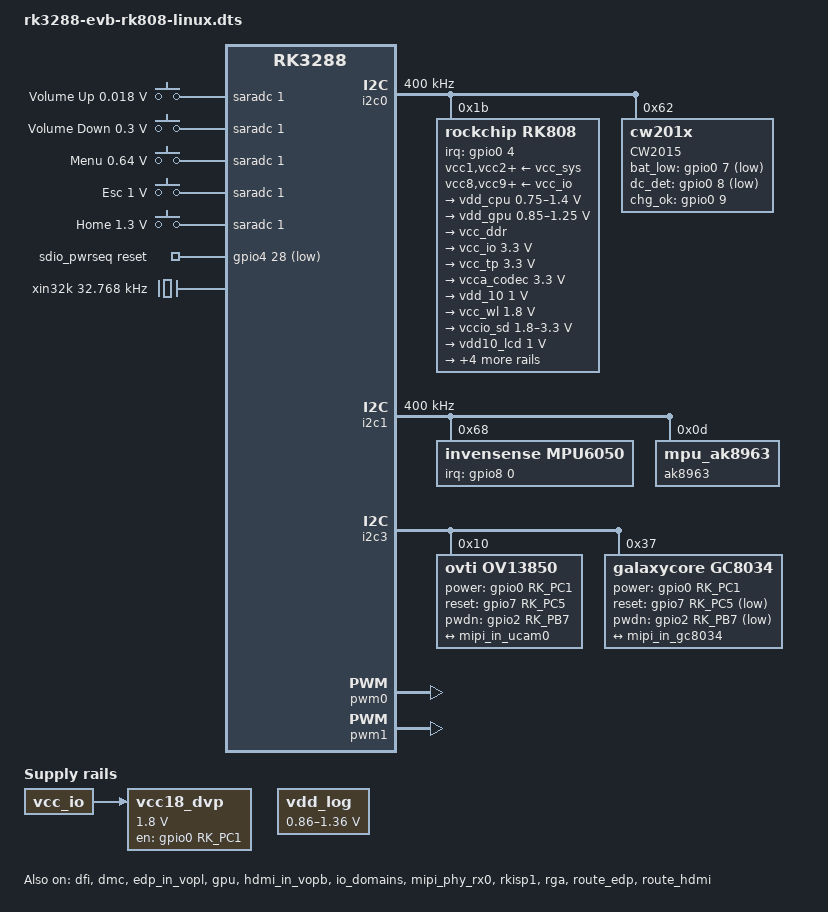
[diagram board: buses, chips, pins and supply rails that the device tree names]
// SPDX-License-Identifier: (GPL-2.0+ OR MIT)

/dts-v1/;
#include "rk3288-evb.dtsi"
#include "rk3288-linux.dtsi"

/ {
	compatible = "rockchip,rk3288-evb-rk808-linux", "rockchip,rk3288";

	adc-keys {
		compatible = "adc-keys";
		io-channels = <&saradc 1>;
		io-channel-names = "buttons";
		poll-interval = <100>;
		keyup-threshold-microvolt = <1800000>;

		button-up {
			label = "Volume Up";
			linux,code = <KEY_VOLUMEUP>;
			press-threshold-microvolt = <18000>;
		};

		button-down {
			label = "Volume Down";
			linux,code = <KEY_VOLUMEDOWN>;
			press-threshold-microvolt = <300000>;
		};

		menu {
			label = "Menu";
			linux,code = <KEY_MENU>;
			press-threshold-microvolt = <640000>;
		};

		esc {
			label = "Esc";
			linux,code = <KEY_ESC>;
			press-threshold-microvolt = <1000000>;
		};

		home  {
			label = "Home";
			linux,code = <KEY_HOME>;
			press-threshold-microvolt = <1300000>;
		};
	};

	sdio_pwrseq: sdio-pwrseq {
		compatible = "mmc-pwrseq-simple";
		clocks = <&rk808 1>;
		clock-names = "ext_clock";
		pinctrl-names = "default";
		pinctrl-0 = <&wifi_enable_h>;

		/*
		 * On the module itself this is one of these (depending
		 * on the actual card populated):
		 * - SDIO_RESET_L_WL_REG_ON
		 * - PDN (power down when low)
		 */
		reset-gpios = <&gpio4 28 GPIO_ACTIVE_LOW>;
	};

	wireless-bluetooth {
		clocks = <&rk808 1>;
		clock-names = "ext_clock";
	};

	/delete-node/ sdmmc-regulator;

	vcc18_dvp: vcc18-dvp {
		compatible = "regulator-fixed";
		regulator-name = "vcc18_dvp";
		regulator-min-microvolt = <1800000>;
		regulator-max-microvolt = <1800000>;
		gpio = <&gpio0 RK_PC1 GPIO_ACTIVE_HIGH>;
		enable-active-high;
		regulator-always-on;
		vin-supply = <&vcc_io>;
	};

	vdd_log: vdd-logic {
		compatible = "pwm-regulator";
		rockchip,pwm_id = <1>;
		rockchip,pwm_voltage = <1100000>;
		pwms = <&pwm1 0 25000 1>;
		regulator-name = "vcc_log";
		regulator-min-microvolt = <860000>;
		regulator-max-microvolt = <1360000>;
		regulator-always-on;
		regulator-boot-on;
	};

	xin32k: xin32k {
		compatible = "fixed-clock";
		clock-frequency = <32768>;
		clock-output-names = "xin32k";
		#clock-cells = <0>;
	};
};

&backlight {
	enable-gpios = <&gpio7 RK_PA2 GPIO_ACTIVE_HIGH>;
	pinctrl-names = "default";
	pinctrl-0 = <&bl_en>;
	pwms = <&pwm0 0 1000000 PWM_POLARITY_INVERTED>;
};

&cpu0 {
	cpu0-supply = <&vdd_cpu>;
};

&dfi {
	status = "okay";
};

&dmc {
	center-supply = <&vdd_log>;
	status = "okay";
};

&edp_in_vopb {
	status = "disabled";
};

&edp_in_vopl {
	status = "okay";
};

&gpu {
	status = "okay";
	mali-supply = <&vdd_gpu>;
};

&hdmi {
	pinctrl-0 = <&hdmi_ddc>, <&hdmi_cec_c0>;
};

&hdmi_in_vopb {
	status = "okay";
};

&hdmi_in_vopl {
	status = "disabled";
};

&i2c0 {
	clock-frequency = <400000>;

	rk808: pmic@1b {
		compatible = "rockchip,rk808";
		reg = <0x1b>;
		interrupt-parent = <&gpio0>;
		interrupts = <4 IRQ_TYPE_LEVEL_LOW>;
		pinctrl-names = "default";
		pinctrl-0 = <&pmic_int &global_pwroff>;
		rockchip,system-power-controller;
		wakeup-source;
		#clock-cells = <1>;
		clock-output-names = "rk808-clkout1", "rk808-clkout2";

		vcc1-supply = <&vcc_sys>;
		vcc2-supply = <&vcc_sys>;
		vcc3-supply = <&vcc_sys>;
		vcc4-supply = <&vcc_sys>;
		vcc6-supply = <&vcc_sys>;
		vcc8-supply = <&vcc_io>;
		vcc9-supply = <&vcc_io>;
		vcc12-supply = <&vcc_io>;
		vddio-supply = <&vcc_io>;

		regulators {
			vdd_cpu: DCDC_REG1 {
				regulator-always-on;
				regulator-boot-on;
				regulator-min-microvolt = <750000>;
				regulator-max-microvolt = <1400000>;
				regulator-name = "vdd_arm";
				regulator-state-mem {
					regulator-off-in-suspend;
				};
			};

			vdd_gpu: DCDC_REG2 {
				regulator-always-on;
				regulator-boot-on;
				regulator-min-microvolt = <850000>;
				regulator-max-microvolt = <1250000>;
				regulator-name = "vdd_gpu";
				regulator-ramp-delay = <6000>;
				regulator-state-mem {
					regulator-off-in-suspend;
				};
			};

			vcc_ddr: DCDC_REG3 {
				regulator-always-on;
				regulator-boot-on;
				regulator-name = "vcc_ddr";
				regulator-state-mem {
					regulator-on-in-suspend;
				};
			};

			vcc_io: DCDC_REG4 {
				regulator-always-on;
				regulator-boot-on;
				regulator-min-microvolt = <3300000>;
				regulator-max-microvolt = <3300000>;
				regulator-name = "vcc_io";
				regulator-state-mem {
					regulator-on-in-suspend;
					regulator-suspend-microvolt = <3300000>;
				};
			};

			vcc_tp: LDO_REG1 {
				regulator-always-on;
				regulator-boot-on;
				regulator-min-microvolt = <3300000>;
				regulator-max-microvolt = <3300000>;
				regulator-name = "vcc_tp";
				regulator-state-mem {
					regulator-off-in-suspend;
				};
			};

			vcca_codec: LDO_REG2 {
				regulator-always-on;
				regulator-boot-on;
				regulator-min-microvolt = <3300000>;
				regulator-max-microvolt = <3300000>;
				regulator-name = "vcca_codec";
				regulator-state-mem {
					regulator-on-in-suspend;
					regulator-suspend-microvolt = <3300000>;
				};
			};

			vdd_10: LDO_REG3 {
				regulator-always-on;
				regulator-boot-on;
				regulator-min-microvolt = <1000000>;
				regulator-max-microvolt = <1000000>;
				regulator-name = "vdd_10";
				regulator-state-mem {
					regulator-on-in-suspend;
					regulator-suspend-microvolt = <1000000>;
				};
			};

			vcc_wl: LDO_REG4 {
				regulator-always-on;
				regulator-boot-on;
				regulator-min-microvolt = <1800000>;
				regulator-max-microvolt = <1800000>;
				regulator-name = "vcc_wl";
				regulator-state-mem {
					regulator-on-in-suspend;
				};
			};

			vccio_sd: LDO_REG5 {
				regulator-always-on;
				regulator-boot-on;
				regulator-min-microvolt = <1800000>;
				regulator-max-microvolt = <3300000>;
				regulator-name = "vccio_sd";
				regulator-state-mem {
					regulator-off-in-suspend;
				};
			};

			vdd10_lcd: LDO_REG6 {
				regulator-always-on;
				regulator-boot-on;
				regulator-min-microvolt = <1000000>;
				regulator-max-microvolt = <1000000>;
				regulator-name = "vdd10_lcd";
				regulator-state-mem {
					regulator-off-in-suspend;
				};
			};

			vcc_18: LDO_REG7 {
				regulator-always-on;
				regulator-boot-on;
				regulator-min-microvolt = <1800000>;
				regulator-max-microvolt = <1800000>;
				regulator-name = "vcc_18";
				regulator-state-mem {
					regulator-on-in-suspend;
					regulator-suspend-microvolt = <1800000>;
				};
			};

			vcc18_lcd: LDO_REG8 {
				regulator-always-on;
				regulator-boot-on;
				regulator-min-microvolt = <1800000>;
				regulator-max-microvolt = <1800000>;
				regulator-name = "vcc18_lcd";
				regulator-state-mem {
					regulator-off-in-suspend;
				};
			};

			vcc_sd: SWITCH_REG1 {
				regulator-always-on;
				regulator-boot-on;
				regulator-name = "vcc_sd";
				regulator-state-mem {
					regulator-off-in-suspend;
				};
			};

			vcc_lcd: SWITCH_REG2 {
				regulator-always-on;
				regulator-boot-on;
				regulator-name = "vcc_lcd";
				regulator-state-mem {
					regulator-off-in-suspend;
				};
			};
		};
	};

	CW2015@62 {
		compatible = "cw201x";
		reg = <0x62>;
		bat_low_gpio = <&gpio0 7 GPIO_ACTIVE_LOW>;
		dc_det_gpio = <&gpio0 8 GPIO_ACTIVE_LOW>;
		chg_ok_gpio = <&gpio0 9 GPIO_ACTIVE_HIGH>;
		bat_config_info = <0x15 0x42 0x60 0x59 0x52 0x58 0x4D 0x48 0x48 0x44 0x44 0x46 0x49 0x48 0x32
			0x24 0x20 0x17 0x13 0x0F 0x19 0x3E 0x51 0x45 0x08 0x76 0x0B 0x85 0x0E 0x1C 0x2E 0x3E 0x4D 0x52 0x52
			0x57 0x3D 0x1B 0x6A 0x2D 0x25 0x43 0x52 0x87 0x8F 0x91 0x94 0x52 0x82 0x8C 0x92 0x96 0xFF 0x7B 0xBB
			0xCB 0x2F 0x7D 0x72 0xA5 0xB5 0xC1 0x46 0xAE>;
		is_dc_charge = <1>;
		is_usb_charge = <0>;
		monitor_sec = <5>;
		virtual_power = <0>;
		divider_res1 = <200>;
		divider_res2 = <200>;
	};
};

&i2c1 {
	status = "okay";
	clock-frequency = <400000>;

	mpu6050@68 {
		compatible = "invensense,mpu6050";
		status = "okay";
		pinctrl-names = "default";
		pinctrl-0 = <&mpu6050_irq_gpio>;
		reg = <0x68>;
		irq-gpio = <&gpio8 0 IRQ_TYPE_EDGE_RISING>;
		mpu-int_config = <0x10>;
		mpu-level_shifter = <0>;
		mpu-orientation = <0 1 0 1 0 0 0 0 1>;
		orientation-x= <0>;
		orientation-y= <1>;
		orientation-z= <0>;
		support-hw-poweroff = <1>;
		mpu-debug = <1>;
	};

	ak8963: compass@d{
		compatible = "mpu_ak8963";
		reg = <0x0d>;
		compass-bus = <0>;
		compass-adapt_num = <0>;
		compass-orientation = <1 0 0 0 1 0 0 0 1>;
		orientation-x= <0>;
		orientation-y= <0>;
		orientation-z= <1>;
		compass-debug = <1>;
		status = "okay";
	};
};

&io_domains {
	status = "okay";
	audio-supply = <&vcc_io>;
	bb-supply = <&vcc_io>;
	dvp-supply = <&vcc18_dvp>;
	flash0-supply = <&vcc_18>;
	flash1-supply = <&vcc_io>;
	gpio30-supply = <&vcc_io>;
	gpio1830 = <&vcc_io>;
	lcdc-supply = <&vcc_lcd>;
	sdcard-supply = <&vccio_sd>;
	wifi-supply = <&vcc_wl>;
};

&i2c3 {
	status = "okay";

	ov13850: ov13850@10 {
		compatible = "ovti,ov13850";
		reg = <0x10>;
		clocks = <&cru SCLK_VIP_OUT>;
		clock-names = "xvclk";
		/* avdd-supply = <>; */
		/* dvdd-supply = <>; */
		/* dovdd-supply = <>; */
		/* reset-gpios = <>; */
		pinctrl-names = "rockchip,camera_default";
		pinctrl-0 = <&isp_mipi>;
		power-gpio = <&gpio0 RK_PC1 GPIO_ACTIVE_HIGH>;
		reset-gpio = <&gpio7 RK_PC5 GPIO_ACTIVE_HIGH>;
		pwdn-gpios = <&gpio2 RK_PB7 GPIO_ACTIVE_HIGH>;
		rockchip,camera-module-index = <0>;
		rockchip,camera-module-facing = "back";
		rockchip,camera-module-name = "CMK-CT0116";
		rockchip,camera-module-lens-name = "Largan-50013A1";
		port {
			ov13850_out: endpoint {
				remote-endpoint = <&mipi_in_ucam0>;
				data-lanes = <1 2>;
			};
		};
	};

	gc8034: gc8034@37 {
		compatible = "galaxycore,gc8034";
		status = "okay";
		reg = <0x37>;
		clocks = <&cru SCLK_VIP_OUT>;
		clock-names = "xvclk";
		pinctrl-names = "rockchip,camera_default";
		pinctrl-0 = <&isp_mipi>;
		power-gpio = <&gpio0 RK_PC1 GPIO_ACTIVE_HIGH>;
		reset-gpios = <&gpio7 RK_PC5 GPIO_ACTIVE_LOW>;
		pwdn-gpios = <&gpio2 RK_PB7 GPIO_ACTIVE_LOW>;
		rockchip,camera-module-index = <0>;
		rockchip,camera-module-facing = "back";
		rockchip,camera-module-name = "LH-RK-8034-v1.0";
		rockchip,camera-module-lens-name = "CK8401";
		port {
			gc8034_out: endpoint {
				remote-endpoint = <&mipi_in_gc8034>;
				data-lanes = <1 2 3 4>;
			};
		};
	};
};

&isp_mmu {
	status = "okay";
};

&mipi_phy_rx0 {
	status = "okay";

	ports {
		#address-cells = <1>;
		#size-cells = <0>;

		port@0 {
			reg = <0>;
			#address-cells = <1>;
			#size-cells = <0>;

			mipi_in_ucam0: endpoint@1 {
				reg = <1>;
				remote-endpoint = <&ov13850_out>;
				data-lanes = <1 2>;
			};
			mipi_in_gc8034: endpoint@0 {
				reg = <0>;
				remote-endpoint = <&gc8034_out>;
				data-lanes = <1 2 3 4>;
			};
		};

		port@1 {
			reg = <1>;
			#address-cells = <1>;
			#size-cells = <0>;

			dphy_rx_out: endpoint@0 {
				reg = <0>;
				remote-endpoint = <&isp_mipi_in>;
			};
		};
	};
};

&rkisp1 {
	status = "okay";
	port {
		#address-cells = <1>;
		#size-cells = <0>;

		isp_mipi_in: endpoint@0 {
			reg = <0>;
			remote-endpoint = <&dphy_rx_out>;
		};

	};
};

&rga {
	status = "okay";
};

&route_edp {
	status = "okay";
};

&route_hdmi {
	status = "okay";
};

&uart2 {
	status = "disabled";
};

&pwm0 {
	status = "okay";
};

&pwm1 {
	pinctrl-names = "active";
	pinctrl-0 = <&pwm1_pin_pull_down>;
	status = "okay";
};

&pinctrl {
	backlight {
		bl_en: bl-en {
			rockchip,pins = <7 RK_PA2 RK_FUNC_GPIO &pcfg_pull_none>;
		};
	};

	buttons {
		pwrbtn: pwrbtn {
			rockchip,pins = <0 RK_PA5 RK_FUNC_GPIO &pcfg_pull_up>;
		};
	};

	mpu6050 {
		mpu6050_irq_gpio: mpu6050-irq-gpio {
			rockchip,pins = <8 RK_PA0 RK_FUNC_GPIO &pcfg_pull_none>;
		};
	};
};
